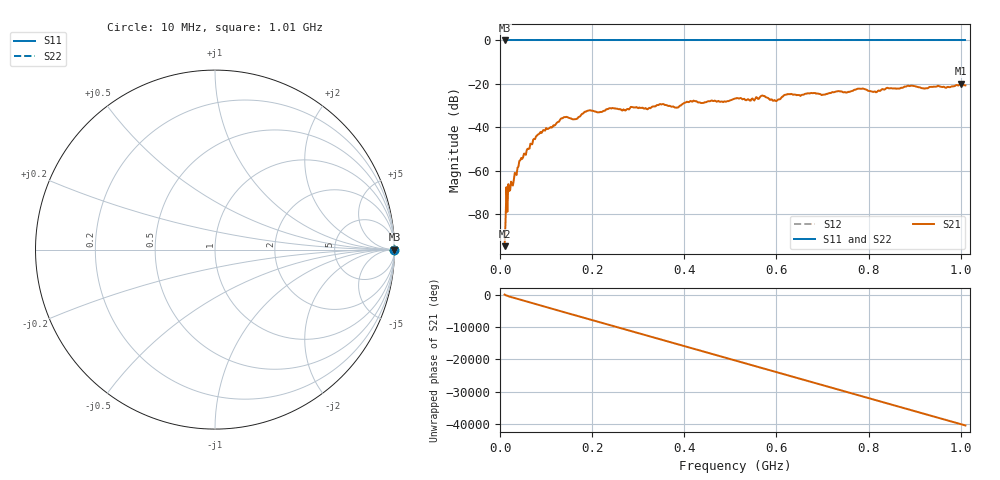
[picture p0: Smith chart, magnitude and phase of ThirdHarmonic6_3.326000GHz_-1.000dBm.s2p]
! 8/17/2025 10:26:11 AM
! C:\ANRITSUVNA\TEMP\TEMP.S2P
! CHANNEL.1
! TR.MEASUREMENT
! RAW.DATA
! RF.CORRECTION.OFF
! AVERAGING.OFF
! IF.BANDWIDTH: 5KHZ
! SWEEPTYPE:  FREQ.SWEEP(Linear)
! Reference Plane Port Info
! PORT:  PORT1  PORT2
! DISTANCE:  0  m  0  m
! TIME:  0  s  0  s
! PHASE.OFFSET:  0  deg.  0  deg.
! LOSS:  0  dB  0  dB
! REF.LOSS:  0  dB  0  dB
! REF.FREQ:  0  Hz  0  Hz
! Power Info
! POWER:  -20  dBm  -20  dBm
! EFF.POWER:  -20  dBm  -20  dBm
! SOURCE.ATTEN:  0  dB  0  dB
! TEST.ATTEN:  0  dB  0  dB
# GHZ S RI R 50.0
! FREQ.GHZ  S11RE  S11IM  S21RE  S21IM  S12RE  S12IM  S22RE  S22IM
!; PortSelection: Port_12
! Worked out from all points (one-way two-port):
!   501 points, 10 MHz to 1.01 GHz, reference 50 ohm
!   highest |S21| = -19.94 dB at 1 GHz (marker M1); lowest = -94.6 dB at 10 MHz (marker M2)
!   lowest |S11| = 0.0 dB at 10 MHz (marker M3)
!   |S11| at or under -10 dB: nowhere
!   |S22| runs from 0.0 to 0.0 dB; largest |S21 - S12| = 1.1
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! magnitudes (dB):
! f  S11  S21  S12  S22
! 10 MHz  0.0  -94.6  0.0  0.0
! 12 MHz  0.0  -83.4  0.0  0.0
! 22 MHz  0.0  -68.8  0.0  0.0
! 32 MHz  0.0  -60.9  0.0  0.0
! 42 MHz  0.0  -55.4  0.0  0.0
! 76 MHz  0.0  -45.4  0.0  0.0
! 136 MHz  0.0  -35.8  0.0  0.0
! 164 MHz  0.0  -36.2  0.0  0.0
! 178 MHz  0.0  -33.8  0.0  0.0
! 344 MHz  0.0  -29.7  0.0  0.0
! 384 MHz  0.0  -30.9  0.0  0.0
! 410 MHz  0.0  -28.4  0.0  0.0
! 510 MHz  0.0  -26.7  0.0  0.0
! 570 MHz  0.0  -25.3  0.0  0.0
! 596 MHz  0.0  -27.4  0.0  0.0
! 622 MHz  0.0  -24.9  0.0  0.0
! 678 MHz  0.0  -24.2  0.0  0.0
! 780 MHz  0.0  -22.1  0.0  0.0
! 814 MHz  0.0  -23.5  0.0  0.0
! 844 MHz  0.0  -22.0  0.0  0.0
! 1 GHz  0.0  -19.9  0.0  0.0
! 1.01 GHz  0.0  -20.6  0.0  0.0
